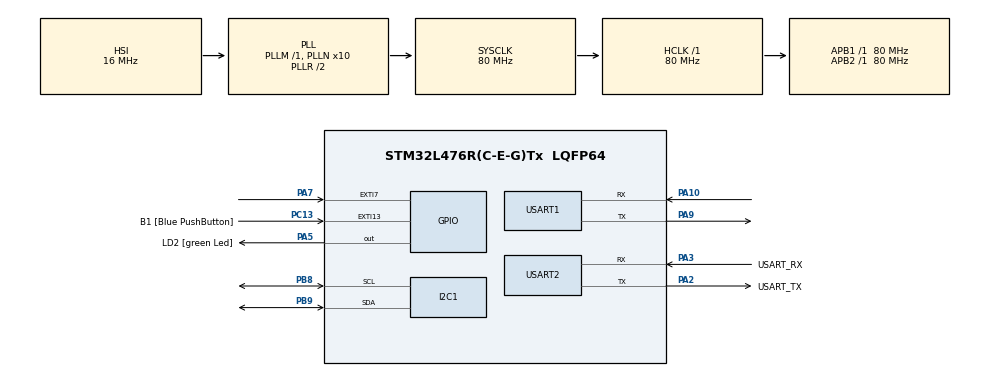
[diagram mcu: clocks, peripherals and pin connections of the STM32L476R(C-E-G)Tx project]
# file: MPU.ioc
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I2C1.Timing=0x10D19CE4
Mcu.Family=STM32L4
Mcu.Name=STM32L476R(C-E-G)Tx
Mcu.Package=LQFP64
NVIC.EXTI15_10_IRQn=true\:0\:0\:false\:false\:true\:true\:true\:true
NVIC.EXTI9_5_IRQn=true\:0\:0\:false\:false\:true\:true\:true\:true
NVIC.I2C1_EV_IRQn=true\:0\:0\:false\:false\:true\:true\:true\:true
NVIC.PriorityGroup=NVIC_PRIORITYGROUP_4
NVIC.USART1_IRQn=true\:0\:0\:false\:false\:true\:true\:true\:true
PA10.Mode=Asynchronous
PA10.Signal=USART1_RX
PA13\ (JTMS-SWDIO).GPIO_Label=TMS
PA13\ (JTMS-SWDIO).Mode=Serial_Wire
PA13\ (JTMS-SWDIO).Signal=SYS_JTMS-SWDIO
PA14\ (JTCK-SWCLK).GPIO_Label=TCK
PA14\ (JTCK-SWCLK).Mode=Serial_Wire
PA14\ (JTCK-SWCLK).Signal=SYS_JTCK-SWCLK
PA2.GPIO_Label=USART_TX
PA2.GPIO_Mode=GPIO_MODE_AF_PP
PA2.GPIO_PuPd=GPIO_NOPULL
PA2.GPIO_Speed=GPIO_SPEED_FREQ_VERY_HIGH
PA2.Mode=Asynchronous
PA2.Signal=USART2_TX
PA3.GPIO_Label=USART_RX
PA3.GPIO_Mode=GPIO_MODE_AF_PP
PA3.GPIO_PuPd=GPIO_NOPULL
PA3.GPIO_Speed=GPIO_SPEED_FREQ_VERY_HIGH
PA3.Mode=Asynchronous
PA3.Signal=USART2_RX
PA5.GPIO_Label=LD2 [green Led]
PA5.GPIO_ModeDefaultOutputPP=GPIO_MODE_OUTPUT_PP
PA5.GPIO_PuPd=GPIO_NOPULL
PA5.GPIO_Speed=GPIO_SPEED_FREQ_LOW
PA5.Signal=GPIO_Output
PA7.Signal=GPXTI7
PA9.Mode=Asynchronous
PA9.Signal=USART1_TX
PB3\ (JTDO-TRACESWO).Signal=SYS_JTDO-SWO
PB8.GPIO_Pu=GPIO_PULLUP
PB8.GPIO_Speed=GPIO_SPEED_FREQ_HIGH
PB8.Mode=I2C
PB8.Signal=I2C1_SCL
PB9.GPIO_Pu=GPIO_PULLUP
PB9.GPIO_Speed=GPIO_SPEED_FREQ_HIGH
PB9.Mode=I2C
PB9.Signal=I2C1_SDA
PC13.GPIO_Label=B1 [Blue PushButton]
PC13.GPIO_ModeDefaultEXTI=GPIO_MODE_IT_FALLING
PC13.GPIO_PuPd=GPIO_NOPULL
PC13.Signal=GPXTI13
PC14-OSC32_IN\ (PC14).Mode=LSE-External-Oscillator
PC14-OSC32_IN\ (PC14).Signal=RCC_OSC32_IN
PC15-OSC32_OUT\ (PC15).Mode=LSE-External-Oscillator
PC15-OSC32_OUT\ (PC15).Signal=RCC_OSC32_OUT
PH0-OSC_IN\ (PH0).Signal=RCC_OSC_IN
PH1-OSC_OUT\ (PH1).Signal=RCC_OSC_OUT
ProjectManager.HeapSize=0x200
ProjectManager.StackSize=0x400
ProjectManager.TargetToolchain=CMake
RCC.ADCFreq_Value=64000000
RCC.AHBFreq_Value=80000000
RCC.APB1Freq_Value=80000000
RCC.APB1TimFreq_Value=80000000
RCC.APB2Freq_Value=80000000
RCC.APB2TimFreq_Value=80000000
RCC.CortexFreq_Value=80000000
RCC.HCLKFreq_Value=80000000
RCC.HSE_VALUE=8000000
RCC.HSI_VALUE=16000000
RCC.MSI_VALUE=4000000
RCC.PLLN=10
RCC.PLLSourceVirtual=RCC_PLLSOURCE_HSI
RCC.PREFETCH_ENABLE=1
RCC.SYSCLKFreq_VALUE=80000000
RCC.SYSCLKSource=RCC_SYSCLKSOURCE_PLLCLK
RCC.USBFreq_Value=64000000
RCC.VCOOutputFreq_Value=160000000
USART1.VirtualMode-Asynchronous=VM_ASYNC
USART2.VirtualMode-Asynchronous=VM_ASYNC
board=NUCLEO-L476RG

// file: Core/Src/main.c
/* USER CODE BEGIN Header */
/**
 ******************************************************************************
 * @file           : main.c
 * @brief          : Main program body
 ******************************************************************************
 * @attention
 *
 * Copyright (c) 2026 STMicroelectronics.
 * All rights reserved.
 *
 * This software is licensed under terms that can be found in the LICENSE file
 * in the root directory of this software component.
 * If no LICENSE file comes with this software, it is provided AS-IS.
 *
 ******************************************************************************
 */
/* USER CODE END Header */
#include "main.h"

/* USER CODE BEGIN Includes */

#include "mpu6050.h"
#include "stm32l4xx_hal.h"
#include "stm32l4xx_hal_conf.h"
#include "stm32l4xx_hal_def.h"
#include "stm32l4xx_hal_uart.h"
#include <stdio.h>
#include <string.h>
/* USER CODE END Includes */

/* USER CODE BEGIN PM */
int16_t x_raw, y_raw, z_raw, x_mg, y_mg, z_mg;
uint8_t buff[64];
/* USER CODE END PM */

I2C_HandleTypeDef hi2c1;

UART_HandleTypeDef huart1;
UART_HandleTypeDef huart2;

/* USER CODE BEGIN PV */
volatile uint8_t i2c_ready_flag = 0;
uint8_t i2c_rx_buffer[6];

/* USER CODE END PV */

void SystemClock_Config(void);
static void MX_GPIO_Init(void);
static void MX_I2C1_Init(void);
static void MX_USART2_UART_Init(void);
static void MX_USART1_UART_Init(void);

int main(void) {

  /* MCU Configuration--------------------------------------------------------*/

  /* Reset of all peripherals, Initializes the Flash interface and the Systick.
   */
  HAL_Init();

  /* Configure the system clock */
  SystemClock_Config();

  /* Initialize all configured peripherals */
  MX_GPIO_Init();
  MX_I2C1_Init();
  MX_USART2_UART_Init();
  MX_USART1_UART_Init();
  /* USER CODE BEGIN 2 */
  // mpu6050_init();
  // mpu6050_calibrate();

  /* USER CODE END 2 */

  /* Infinite loop */
  /* USER CODE BEGIN WHILE */
  while (1) {

    uint8_t message[] = "This is a test transmission";
    HAL_UART_Transmit(&huart1, message, sizeof(message) - 1, HAL_MAX_DELAY);
    // while (i2c_ready_flag == 0) {
    //   // PID compute etc...
    // }

    // i2c_ready_flag = 0;

    // // x_raw = (int16_t)(i2c_rx_buffer[0] << 8 | i2c_rx_buffer[1]);
    // // x_mg = ((int32_t)x_raw * 1000) / 16384;

    // // sprintf((char *)buff, "%ld,%ld,%ld\r\n", x_mg);
    // // HAL_UART_Transmit(&huart2, buff, strlen((char *)buff), HAL_MAX_DELAY);
    // // HAL_Delay(50);

    // x_raw = (int16_t)(i2c_rx_buffer[0] << 8 | i2c_rx_buffer[1]);
    // y_raw = (int16_t)(i2c_rx_buffer[2] << 8 | i2c_rx_buffer[3]);
    // z_raw = (int16_t)(i2c_rx_buffer[4] << 8 | i2c_rx_buffer[5]);

    // // Convert to mg (assuming +/- 4g range, sensitivity = 16384 LSB/g)
    // x_mg = ((int32_t)x_raw * 1000) / 8192;
    // y_mg = ((int32_t)y_raw * 1000) / 8192;
    // z_mg = ((int32_t)z_raw * 1000) / 8192;

    // // Format for Serial Plotter: "x,y,z\r\n"
    // sprintf((char *)buff, "%ld,%ld,%ld\r\n", x_raw, y_raw, z_raw);
    // HAL_UART_Transmit(&huart1, buff, strlen((char *)buff), HAL_MAX_DELAY);
    // HAL_Delay(100);

    /* USER CODE END WHILE */

  }
}

void SystemClock_Config(void) {
  RCC_OscInitTypeDef RCC_OscInitStruct = {0};
  RCC_ClkInitTypeDef RCC_ClkInitStruct = {0};

  /** Configure the main internal regulator output voltage
   */
  if (HAL_PWREx_ControlVoltageScaling(PWR_REGULATOR_VOLTAGE_SCALE1) != HAL_OK) {
    Error_Handler();
  }

  /** Initializes the RCC Oscillators according to the specified parameters
   * in the RCC_OscInitTypeDef structure.
   */
  RCC_OscInitStruct.OscillatorType = RCC_OSCILLATORTYPE_HSI;
  RCC_OscInitStruct.HSIState = RCC_HSI_ON;
  RCC_OscInitStruct.HSICalibrationValue = RCC_HSICALIBRATION_DEFAULT;
  RCC_OscInitStruct.PLL.PLLState = RCC_PLL_ON;
  RCC_OscInitStruct.PLL.PLLSource = RCC_PLLSOURCE_HSI;
  RCC_OscInitStruct.PLL.PLLM = 1;
  RCC_OscInitStruct.PLL.PLLN = 10;
  RCC_OscInitStruct.PLL.PLLP = RCC_PLLP_DIV7;
  RCC_OscInitStruct.PLL.PLLQ = RCC_PLLQ_DIV2;
  RCC_OscInitStruct.PLL.PLLR = RCC_PLLR_DIV2;
  if (HAL_RCC_OscConfig(&RCC_OscInitStruct) != HAL_OK) {
    Error_Handler();
  }

  /** Initializes the CPU, AHB and APB buses clocks
   */
  RCC_ClkInitStruct.ClockType = RCC_CLOCKTYPE_HCLK | RCC_CLOCKTYPE_SYSCLK |
                                RCC_CLOCKTYPE_PCLK1 | RCC_CLOCKTYPE_PCLK2;
  RCC_ClkInitStruct.SYSCLKSource = RCC_SYSCLKSOURCE_PLLCLK;
  RCC_ClkInitStruct.AHBCLKDivider = RCC_SYSCLK_DIV1;
  RCC_ClkInitStruct.APB1CLKDivider = RCC_HCLK_DIV1;
  RCC_ClkInitStruct.APB2CLKDivider = RCC_HCLK_DIV1;

  if (HAL_RCC_ClockConfig(&RCC_ClkInitStruct, FLASH_LATENCY_4) != HAL_OK) {
    Error_Handler();
  }
}

static void MX_I2C1_Init(void) {

  hi2c1.Instance = I2C1;
  hi2c1.Init.Timing = 0x10909CEC;
  hi2c1.Init.OwnAddress1 = 0;
  hi2c1.Init.AddressingMode = I2C_ADDRESSINGMODE_7BIT;
  hi2c1.Init.DualAddressMode = I2C_DUALADDRESS_DISABLE;
  hi2c1.Init.OwnAddress2 = 0;
  hi2c1.Init.OwnAddress2Masks = I2C_OA2_NOMASK;
  hi2c1.Init.GeneralCallMode = I2C_GENERALCALL_DISABLE;
  hi2c1.Init.NoStretchMode = I2C_NOSTRETCH_DISABLE;
  if (HAL_I2C_Init(&hi2c1) != HAL_OK) {
    Error_Handler();
  }

  /** Configure Analogue filter
   */
  if (HAL_I2CEx_ConfigAnalogFilter(&hi2c1, I2C_ANALOGFILTER_ENABLE) != HAL_OK) {
    Error_Handler();
  }

  /** Configure Digital filter
   */
  if (HAL_I2CEx_ConfigDigitalFilter(&hi2c1, 0) != HAL_OK) {
    Error_Handler();
  }
}

static void MX_USART1_UART_Init(void) {

  huart1.Instance = USART1;
  huart1.Init.BaudRate = 115200;
  huart1.Init.WordLength = UART_WORDLENGTH_8B;
  huart1.Init.StopBits = UART_STOPBITS_1;
  huart1.Init.Parity = UART_PARITY_NONE;
  huart1.Init.Mode = UART_MODE_TX_RX;
  huart1.Init.HwFlowCtl = UART_HWCONTROL_NONE;
  huart1.Init.OverSampling = UART_OVERSAMPLING_16;
  huart1.Init.OneBitSampling = UART_ONE_BIT_SAMPLE_DISABLE;
  huart1.AdvancedInit.AdvFeatureInit = UART_ADVFEATURE_NO_INIT;
  if (HAL_UART_Init(&huart1) != HAL_OK) {
    Error_Handler();
  }
}

static void MX_USART2_UART_Init(void) {

  huart2.Instance = USART2;
  huart2.Init.BaudRate = 115200;
  huart2.Init.WordLength = UART_WORDLENGTH_8B;
  huart2.Init.StopBits = UART_STOPBITS_1;
  huart2.Init.Parity = UART_PARITY_NONE;
  huart2.Init.Mode = UART_MODE_TX_RX;
  huart2.Init.HwFlowCtl = UART_HWCONTROL_NONE;
  huart2.Init.OverSampling = UART_OVERSAMPLING_16;
  huart2.Init.OneBitSampling = UART_ONE_BIT_SAMPLE_DISABLE;
  huart2.AdvancedInit.AdvFeatureInit = UART_ADVFEATURE_NO_INIT;
  if (HAL_UART_Init(&huart2) != HAL_OK) {
    Error_Handler();
  }
}

static void MX_GPIO_Init(void) {
  GPIO_InitTypeDef GPIO_InitStruct = {0};

  /* GPIO Ports Clock Enable */
  __HAL_RCC_GPIOC_CLK_ENABLE();
  __HAL_RCC_GPIOH_CLK_ENABLE();
  __HAL_RCC_GPIOA_CLK_ENABLE();
  __HAL_RCC_GPIOB_CLK_ENABLE();

  /*Configure GPIO pin Output Level */
  HAL_GPIO_WritePin(LD2_GPIO_Port, LD2_Pin, GPIO_PIN_RESET);

  /*Configure GPIO pin : B1_Pin */
  GPIO_InitStruct.Pin = B1_Pin;
  GPIO_InitStruct.Mode = GPIO_MODE_IT_FALLING;
  GPIO_InitStruct.Pull = GPIO_NOPULL;
  HAL_GPIO_Init(B1_GPIO_Port, &GPIO_InitStruct);

  /*Configure GPIO pin : LD2_Pin */
  GPIO_InitStruct.Pin = LD2_Pin;
  GPIO_InitStruct.Mode = GPIO_MODE_OUTPUT_PP;
  GPIO_InitStruct.Pull = GPIO_NOPULL;
  GPIO_InitStruct.Speed = GPIO_SPEED_FREQ_LOW;
  HAL_GPIO_Init(LD2_GPIO_Port, &GPIO_InitStruct);

  /*Configure GPIO pin : PA7 */
  GPIO_InitStruct.Pin = GPIO_PIN_7;
  GPIO_InitStruct.Mode = GPIO_MODE_IT_RISING;
  GPIO_InitStruct.Pull = GPIO_NOPULL;
  HAL_GPIO_Init(GPIOA, &GPIO_InitStruct);

  /* EXTI interrupt init*/
  HAL_NVIC_SetPriority(EXTI9_5_IRQn, 0, 0);
  HAL_NVIC_EnableIRQ(EXTI9_5_IRQn);

  HAL_NVIC_SetPriority(EXTI15_10_IRQn, 0, 0);
  HAL_NVIC_EnableIRQ(EXTI15_10_IRQn);

}

/* USER CODE BEGIN 4 */

void HAL_GPIO_EXTI_Callback(uint16_t GPIO_Pin) {
  /* Prevent unused argument(s) compilation warning */
  UNUSED(GPIO_Pin);
  if (GPIO_Pin == GPIO_PIN_7) { // PA7 (your MPU INT)
    mpu6050_request_data();
  }
  /* NOTE: This function should not be modified, when the callback is needed,
           the HAL_GPIO_EXTI_Callback could be implemented in the user file
   */
}

/* USER CODE END 4 */

void Error_Handler(void) {
  __disable_irq();
  while (1) {
  }
}
#ifdef USE_FULL_ASSERT
/**
 * @brief  Reports the name of the source file and the source line number
 *         where the assert_param error has occurred.
 * @param  file: pointer to the source file name
 * @param  line: assert_param error line source number
 * @retval None
 */
void assert_failed(uint8_t *file, uint32_t line) {
  /* USER CODE BEGIN 6 */
  /* User can add his own implementation to report the file name and line
     number, ex: printf("Wrong parameters value: file %s on line %d\r\n", file,
     line) */
  /* USER CODE END 6 */
}
#endif /* USE_FULL_ASSERT */
